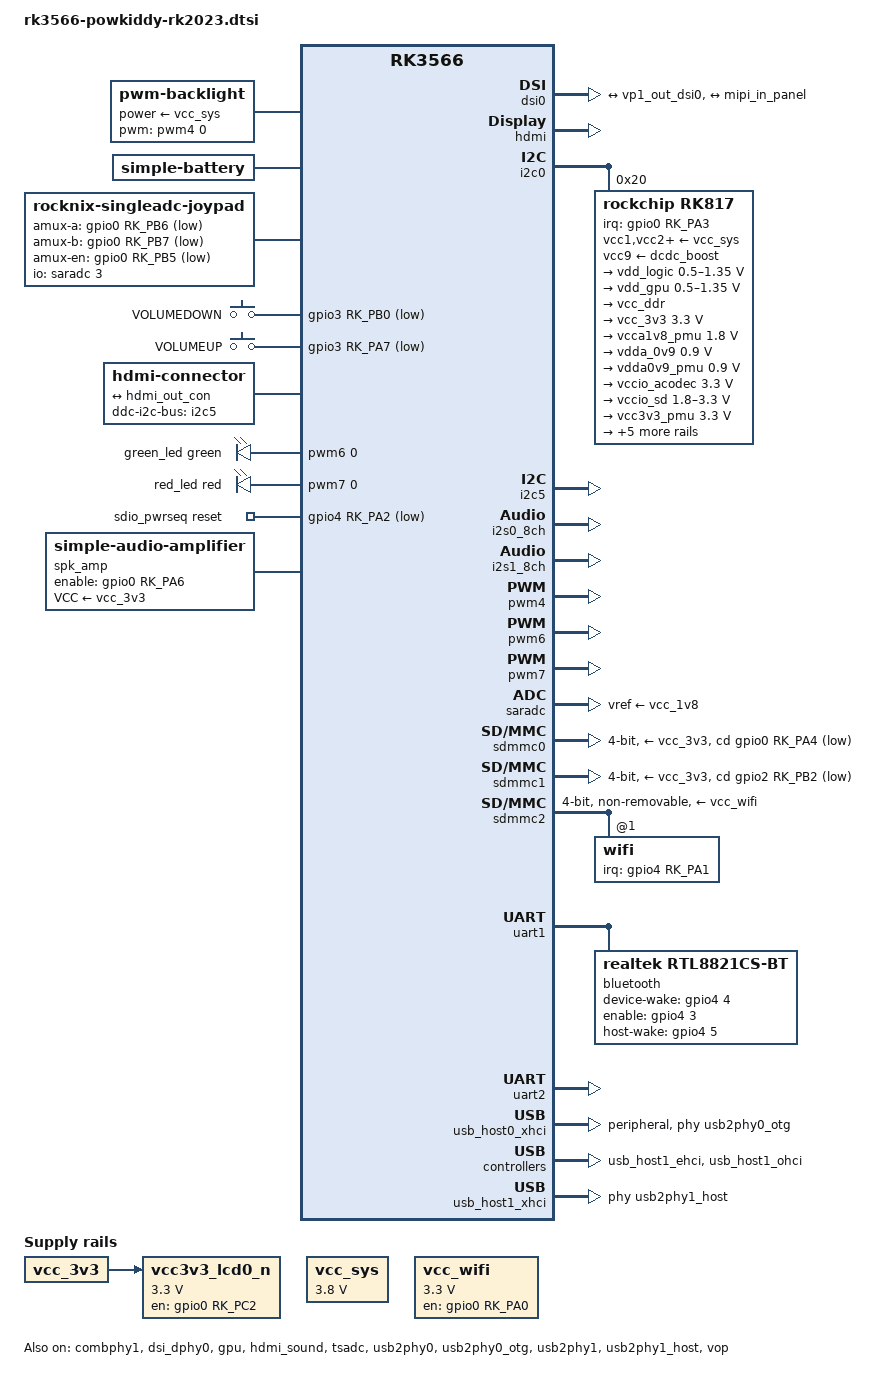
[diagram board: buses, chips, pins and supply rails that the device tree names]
// SPDX-License-Identifier: (GPL-2.0+ OR MIT)

/dts-v1/;

#include <dt-bindings/gpio/gpio.h>
#include <dt-bindings/input/linux-event-codes.h>
#include <dt-bindings/leds/common.h>
#include <dt-bindings/pinctrl/rockchip.h>
#include <dt-bindings/soc/rockchip,vop2.h>
#include "rk3566.dtsi"

/ {
	chassis-type = "handset";

	aliases {
		mmc1 = &sdmmc0;
		mmc2 = &sdmmc1;
		mmc3 = &sdmmc2;
	};

	chosen: chosen {
		stdout-path = "serial2:1500000n8";
	};

	backlight: backlight {
		compatible = "pwm-backlight";
		power-supply = <&vcc_sys>;
		pwms = <&pwm4 0 25000 0>;
		brightness-levels = <
			  0   1   2   3   4   5   6   7
			  8   9  10  11  12  13  14  15
			 16  17  18  19  20  21  22  23
			 24  25  26  27  28  29  30  31
			 32  33  34  35  36  37  38  39
			 40  41  42  43  44  45  46  47
			 48  49  50  51  52  53  54  55
			 56  57  58  59  60  61  62  63
			 64  65  66  67  68  69  70  71
			 72  73  74  75  76  77  78  79
			 80  81  82  83  84  85  86  87
			 88  89  90  91  92  93  94  95
			 96  97  98  99 100 101 102 103
			104 105 106 107 108 109 110 111
			112 113 114 115 116 117 118 119
			120 121 122 123 124 125 126 127
			128 129 130 131 132 133 134 135
			136 137 138 139 140 141 142 143
			144 145 146 147 148 149 150 151
			152 153 154 155 156 157 158 159
			160 161 162 163 164 165 166 167
			168 169 170 171 172 173 174 175
			176 177 178 179 180 181 182 183
			184 185 186 187 188 189 190 191
			192 193 194 195 196 197 198 199
			200 201 202 203 204 205 206 207
			208 209 210 211 212 213 214 215
			216 217 218 219 220 221 222 223
			224 225 226 227 228 229 230 231
			232 233 234 235 236 237 238 239
			240 241 242 243 244 245 246 247
			248 249 250 251 252 253 254 255>;
		default-brightness-level = <77>;
	};

	battery: battery {
		compatible = "simple-battery";
		charge-full-design-microamp-hours = <3151000>;
		charge-term-current-microamp = <300000>;
		constant-charge-current-max-microamp = <2000000>;
		constant-charge-voltage-max-microvolt = <4250000>;
		factory-internal-resistance-micro-ohms = <117000>;
		voltage-max-design-microvolt = <4172000>;
		voltage-min-design-microvolt = <3400000>;

		ocv-capacity-celsius = <20>;
		ocv-capacity-table-0 =  <4172000 100>, <4092000 95>, <4035000 90>, <3990000 85>,
					<3939000 80>, <3895000 75>, <3852000 70>, <3807000 65>,
					<3762000 60>, <3713000 55>, <3672000 50>, <3647000 45>,
					<3629000 40>, <3613000 35>, <3598000 30>, <3578000 25>,
					<3550000 20>, <3519000 15>, <3479000 10>, <3438000 5>,
					<3400000 0>;
	};

	joypad: rocknix-singleadc-joypad {
		compatible = "rocknix-singleadc-joypad";

		joypad-name = "retrogame_joypad";
		joypad-product = <0x1101>;
		joypad-revision = <0x0100>;
		joypad-vendor = <0x484B>;

		status = "okay";

		/* gpio pincontrol setup */
		pinctrl-names = "default";
		pinctrl-0 = <&btn_pins_ctrl>;

		/* Analog mux define */
		io-channel-names = "amux_adc";
		io-channels = <&saradc 3>;

		/* adc mux channel count */
		amux-count = <4>;
		/* adc mux select(a,b) gpio */
		amux-a-gpios = <&gpio0 RK_PB6 GPIO_ACTIVE_LOW>;
		amux-b-gpios = <&gpio0 RK_PB7 GPIO_ACTIVE_LOW>;
		/* adc mux enable gpio */
		amux-en-gpios = <&gpio0 RK_PB5 GPIO_ACTIVE_LOW>;

		/* adc calculate scale */
		button-adc-scale = <2>;


		/* adc deadzone range  */
		button-adc-deadzone = <64>;

		/*
		  specifies fuzz value that is used to filter noise from
		  the event stream.
		*/
		button-adc-fuzz = <32>;
		button-adc-flat = <32>;

		/*
		  Analog Stick data tuning value(precent)
		  p = positive direction, n = negative direction
		  report value = (real_adc_data * tuning_value) / 100
		*/
		abs_x-p-tuning = <245>;
		abs_x-n-tuning = <245>;

		abs_y-p-tuning = <245>;
		abs_y-n-tuning = <245>;

		abs_rx-p-tuning = <245>;
		abs_rx-n-tuning = <245>;

		abs_ry-p-tuning = <245>;
		abs_ry-n-tuning = <245>;

		/* poll device interval (ms), adc read interval */
		poll-interval = <10>;

		/* required to invert x/y */
		invert-absx;
		invert-absy;

		/* gpio button auto repeat set value : default disable */
		/*
			autorepeat;
		*/
		sw1 {
			gpios = <&gpio3 RK_PA3 GPIO_ACTIVE_LOW>;
			label = "GPIO DPAD-UP";
			linux,code = <BTN_DPAD_UP>;
		};
		sw2 {
			gpios = <&gpio3 RK_PA4 GPIO_ACTIVE_LOW>;
			label = "GPIO DPAD-DOWN";
			linux,code = <BTN_DPAD_DOWN>;
		};
		sw3 {
			gpios = <&gpio3 RK_PA6 GPIO_ACTIVE_LOW>;
			label = "GPIO DPAD-LEFT";
			linux,code = <BTN_DPAD_LEFT>;
		};
		sw4 {
			gpios = <&gpio3 RK_PA5 GPIO_ACTIVE_LOW>;
			label = "GPIO DPAD-RIGHT";
			linux,code = <BTN_DPAD_RIGHT>;
		};
		sw5 {
			gpios = <&gpio3 RK_PC3 GPIO_ACTIVE_LOW>;
			label = "GPIO KEY BTN-A";
			linux,code = <BTN_SOUTH>;
		};
		sw6 {
			gpios = <&gpio3 RK_PC2 GPIO_ACTIVE_LOW>;
			label = "GPIO BTN-B";
			linux,code = <BTN_EAST>;
		};
		sw7 {
			gpios = <&gpio3 RK_PC0 GPIO_ACTIVE_LOW>;
			label = "GPIO BTN-X";
			linux,code = <BTN_NORTH>;
		};
		sw8 {
			gpios = <&gpio3 RK_PC1 GPIO_ACTIVE_LOW>;
			label = "GPIO BTN-Y";
			linux,code = <BTN_WEST>;
		};
		sw9 {
			gpios = <&gpio3 RK_PB6 GPIO_ACTIVE_LOW>;
			label = "GPIO BTN_SELECT";
			linux,code = <BTN_SELECT>;
		};
		sw10 {
			gpios = <&gpio3 RK_PB5 GPIO_ACTIVE_LOW>;
			label = "GPIO BTN_START";
			linux,code = <BTN_START>;
		};
		sw11 {
			gpios = <&gpio3 RK_PB7 GPIO_ACTIVE_LOW>;
			label = "GPIO BTN_F";
			linux,code = <BTN_MODE>;
		};
		sw12 {
			gpios = <&gpio3 RK_PB1 GPIO_ACTIVE_LOW>;
			label = "GPIO BTN_TL";
			linux,code = <BTN_TL>;
		};
		sw13 {
			gpios = <&gpio3 RK_PB3 GPIO_ACTIVE_LOW>;
			label = "GPIO BTN_TR";
			linux,code = <BTN_TR>;
		};
		sw14 {
			gpios = <&gpio3 RK_PB2 GPIO_ACTIVE_LOW>;
			label = "GPIO BTN_TL2";
			linux,code = <BTN_TL2>;
		};
		sw15 {
			gpios = <&gpio3 RK_PB4 GPIO_ACTIVE_LOW>;
			label = "GPIO BTN_TR2";
			linux,code = <BTN_TR2>;
		};
		sw16 {
			gpios = <&gpio3 RK_PA1 GPIO_ACTIVE_LOW>;
			label = "GPIO BTN_THUMBL";
			linux,code = <BTN_THUMBL>;
		};
		sw17 {
			gpios = <&gpio3 RK_PA2 GPIO_ACTIVE_LOW>;
			label = "GPIO BTN_THUMBR";
			linux,code = <BTN_THUMBR>;
		};
	};

	gpio_keys_vol: gpio-keys-vol {
		compatible = "gpio-keys";
		autorepeat;
		pinctrl-0 = <&btn_pins_vol>;
		pinctrl-names = "default";

		button-vol-down {
			gpios = <&gpio3 RK_PB0 GPIO_ACTIVE_LOW>;
			label = "VOLUMEDOWN";
			linux,code = <KEY_VOLUMEDOWN>;
		};

		button-vol-up {
			gpios = <&gpio3 RK_PA7 GPIO_ACTIVE_LOW>;
			label = "VOLUMEUP";
			linux,code = <KEY_VOLUMEUP>;
		};
	};

	hdmi-con {
		compatible = "hdmi-connector";
		ddc-i2c-bus = <&i2c5>;
		type = "c";

		port {
			hdmi_con_in: endpoint {
				remote-endpoint = <&hdmi_out_con>;
			};
		};
	};

	/*
	 * Device also includes an always on LED that is wired to the 5V input
	 * voltage and is on when the device is plugged in.
	 */
	leds: pwm-leds {
		compatible = "pwm-leds";

		green_led: led-0 {
			color = <LED_COLOR_ID_GREEN>;
			function = LED_FUNCTION_STATUS;
			max-brightness = <255>;
			pwms = <&pwm6 0 25000 0>;
		};

		red_led: led-1 {
			color = <LED_COLOR_ID_RED>;
			function = LED_FUNCTION_CHARGING;
			max-brightness = <255>;
			pwms = <&pwm7 0 25000 0>;
		};
	};

	sdio_pwrseq: sdio-pwrseq {
		compatible = "mmc-pwrseq-simple";
		clocks = <&rk817 1>;
		clock-names = "ext_clock";
		pinctrl-0 = <&wifi_enable_h>;
		pinctrl-names = "default";
		post-power-on-delay-ms = <200>;
		reset-gpios = <&gpio4 RK_PA2 GPIO_ACTIVE_LOW>;
	};

	/*
	 * Channels reversed for speakers. Headphones automatically switch via hardware when
	 * detected with no ability to control output in software. Headphones appear to be mono
	 * (each output channel receives all audio). No microphone support on 3.5mm jack.
	 */
	sound {
		compatible = "simple-audio-card";
		simple-audio-card,name = "rk817_ext";
		simple-audio-card,aux-devs = <&spk_amp>;
		simple-audio-card,format = "i2s";
		simple-audio-card,mclk-fs = <256>;
		simple-audio-card,widgets =
			"Headphone", "Headphones";
		simple-audio-card,routing =
			"Headphones", "HPOL",
			"Headphones", "HPOR";

		simple-audio-card,codec {
			sound-dai = <&rk817>;
		};

		simple-audio-card,cpu {
			sound-dai = <&i2s1_8ch>;
		};
	};

    spk_amp: audio-amplifier {
		compatible = "simple-audio-amplifier";
        /* This gpio has been verified to turn off speakers on rk2023 */
		enable-gpios = <&gpio0 RK_PA6 GPIO_ACTIVE_HIGH>;
		pinctrl-0 = <&spk_amp_enable_h>;
		pinctrl-names = "default";
		sound-name-prefix = "Speaker Amp";
		/* This is a guess based on rgxx3-series*/
		VCC-supply = <&vcc_3v3>;
	};

	vcc3v3_lcd0_n: regulator-vcc3v3-lcd0 {
		compatible = "regulator-fixed";
		gpio = <&gpio0 RK_PC2 GPIO_ACTIVE_HIGH>;
		enable-active-high;
		pinctrl-0 = <&vcc_lcd_h>;
		pinctrl-names = "default";
		regulator-min-microvolt = <3300000>;
		regulator-max-microvolt = <3300000>;
		regulator-name = "vcc3v3_lcd0_n";
		vin-supply = <&vcc_3v3>;
		regulator-state-mem {
			regulator-off-in-suspend;
		};
	};

	vcc_sys: regulator-vcc-sys {
		compatible = "regulator-fixed";
		regulator-always-on;
		regulator-boot-on;
		regulator-min-microvolt = <3800000>;
		regulator-max-microvolt = <3800000>;
		regulator-name = "vcc_sys";
	};

	vcc_wifi: regulator-vcc-wifi {
		compatible = "regulator-fixed";
		enable-active-high;
		gpio = <&gpio0 RK_PA0 GPIO_ACTIVE_HIGH>;
		pinctrl-0 = <&vcc_wifi_h>;
		pinctrl-names = "default";
		regulator-always-on;
		regulator-min-microvolt = <3300000>;
		regulator-max-microvolt = <3300000>;
		regulator-name = "vcc_wifi";
	};
};

&combphy1 {
	status = "okay";
};

&cpu0 {
	cpu-supply = <&vdd_cpu>;
};

&cpu1 {
	cpu-supply = <&vdd_cpu>;
};

&cpu2 {
	cpu-supply = <&vdd_cpu>;
};

&cpu3 {
	cpu-supply = <&vdd_cpu>;
};

&dsi0 {
	status = "okay";
	#address-cells = <1>;
	#size-cells = <0>;

	ports {
		dsi0_in: port@0 {
			reg = <0>;
			dsi0_in_vp1: endpoint {
				remote-endpoint = <&vp1_out_dsi0>;
			};
		};

		dsi0_out: port@1 {
			reg = <1>;
			mipi_out_panel: endpoint {
				remote-endpoint = <&mipi_in_panel>;
			};
		};
	};
};

&dsi_dphy0 {
	status = "okay";
};

&gpu {
	mali-supply = <&vdd_gpu>;
	status = "okay";
};

&hdmi {
	ddc-i2c-bus = <&i2c5>;
	pinctrl-0 = <&hdmitxm0_cec>;
	pinctrl-names = "default";
	avdd-0v9-supply = <&vdda0v9_pmu>;
	avdd-1v8-supply = <&vcca1v8_pmu>;
	status = "okay";
};

&hdmi_in {
	hdmi_in_vp0: endpoint {
		remote-endpoint = <&vp0_out_hdmi>;
	};
};

&hdmi_out {
	hdmi_out_con: endpoint {
		remote-endpoint = <&hdmi_con_in>;
	};
};

&hdmi_sound {
	status = "okay";
};

&i2c0 {
	status = "okay";

	rk817: pmic@20 {
		compatible = "rockchip,rk817";
		reg = <0x20>;
		interrupt-parent = <&gpio0>;
		interrupts = <RK_PA3 IRQ_TYPE_LEVEL_LOW>;
		clock-output-names = "rk808-clkout1", "rk808-clkout2";
		clock-names = "mclk";
		clocks = <&cru I2S1_MCLKOUT_TX>;
		assigned-clocks = <&cru I2S1_MCLKOUT_TX>;
		assigned-clock-parents = <&cru CLK_I2S1_8CH_TX>;
		#clock-cells = <1>;
		#sound-dai-cells = <0>;
		pinctrl-names = "default";
		pinctrl-0 = <&i2s1m0_mclk>, <&pmic_int_l>;
		wakeup-source;
		system-power-controller;

		vcc1-supply = <&vcc_sys>;
		vcc2-supply = <&vcc_sys>;
		vcc3-supply = <&vcc_sys>;
		vcc4-supply = <&vcc_sys>;
		vcc5-supply = <&vcc_sys>;
		vcc6-supply = <&vcc_sys>;
		vcc7-supply = <&vcc_sys>;
		vcc8-supply = <&vcc_sys>;
		vcc9-supply = <&dcdc_boost>;

		regulators {
			vdd_logic: DCDC_REG1 {
				regulator-always-on;
				regulator-boot-on;
				regulator-min-microvolt = <500000>;
				regulator-max-microvolt = <1350000>;
				regulator-ramp-delay = <6001>;
				regulator-initial-mode = <0x2>;
				regulator-name = "vdd_logic";
				regulator-state-mem {
					regulator-off-in-suspend;
					regulator-suspend-microvolt = <900000>;
				};
			};

			vdd_gpu: DCDC_REG2 {
				regulator-always-on;
				regulator-boot-on;
				regulator-min-microvolt = <500000>;
				regulator-max-microvolt = <1350000>;
				regulator-ramp-delay = <6001>;
				regulator-initial-mode = <0x2>;
				regulator-name = "vdd_gpu";
				regulator-state-mem {
					regulator-off-in-suspend;
				};
			};

			vcc_ddr: DCDC_REG3 {
				regulator-always-on;
				regulator-boot-on;
				regulator-initial-mode = <0x2>;
				regulator-name = "vcc_ddr";
				regulator-state-mem {
					regulator-on-in-suspend;
				};
			};

			vcc_3v3: DCDC_REG4 {
				regulator-always-on;
				regulator-boot-on;
				regulator-min-microvolt = <3300000>;
				regulator-max-microvolt = <3300000>;
				regulator-initial-mode = <0x2>;
				regulator-name = "vcc_3v3";
				regulator-state-mem {
					regulator-on-in-suspend;
					regulator-suspend-microvolt = <3300000>;
				};
			};

			vcca1v8_pmu: LDO_REG1 {
				regulator-always-on;
				regulator-boot-on;
				regulator-min-microvolt = <1800000>;
				regulator-max-microvolt = <1800000>;
				regulator-name = "vcca1v8_pmu";
				regulator-state-mem {
					regulator-on-in-suspend;
					regulator-suspend-microvolt = <1800000>;
				};
			};

			vdda_0v9: LDO_REG2 {
				regulator-always-on;
				regulator-boot-on;
				regulator-min-microvolt = <900000>;
				regulator-max-microvolt = <900000>;
				regulator-name = "vdda_0v9";
				regulator-state-mem {
					regulator-off-in-suspend;
				};
			};

			vdda0v9_pmu: LDO_REG3 {
				regulator-always-on;
				regulator-boot-on;
				regulator-min-microvolt = <900000>;
				regulator-max-microvolt = <900000>;
				regulator-name = "vdda0v9_pmu";
				regulator-state-mem {
					regulator-on-in-suspend;
					regulator-suspend-microvolt = <900000>;
				};
			};

			vccio_acodec: LDO_REG4 {
				regulator-always-on;
				regulator-min-microvolt = <3300000>;
				regulator-max-microvolt = <3300000>;
				regulator-name = "vccio_acodec";
				regulator-state-mem {
					regulator-off-in-suspend;
				};
			};

			vccio_sd: LDO_REG5 {
				regulator-always-on;
				regulator-boot-on;
				regulator-min-microvolt = <1800000>;
				regulator-max-microvolt = <3300000>;
				regulator-name = "vccio_sd";
				regulator-state-mem {
					regulator-off-in-suspend;
				};
			};

			vcc3v3_pmu: LDO_REG6 {
				regulator-always-on;
				regulator-boot-on;
				regulator-min-microvolt = <3300000>;
				regulator-max-microvolt = <3300000>;
				regulator-name = "vcc3v3_pmu";
				regulator-state-mem {
					regulator-on-in-suspend;
					regulator-suspend-microvolt = <3300000>;
				};
			};

			vcc_1v8: LDO_REG7 {
				regulator-always-on;
				regulator-boot-on;
				regulator-min-microvolt = <1800000>;
				regulator-max-microvolt = <1800000>;
				regulator-name = "vcc_1v8";
				regulator-state-mem {
					regulator-off-in-suspend;
				};
			};

			vcc1v8_dvp: LDO_REG8 {
				regulator-always-on;
				regulator-min-microvolt = <1800000>;
				regulator-max-microvolt = <3300000>;
				regulator-name = "vcc1v8_dvp";
				regulator-state-mem {
					regulator-off-in-suspend;
				};
			};

			vcc2v8_dvp: LDO_REG9 {
				regulator-always-on;
				regulator-boot-on;
				regulator-min-microvolt = <2800000>;
				regulator-max-microvolt = <2800000>;
				regulator-name = "vcc2v8_dvp";
				regulator-state-mem {
					regulator-off-in-suspend;
				};
			};

			dcdc_boost: BOOST {
				regulator-always-on;
				regulator-min-microvolt = <4700000>;
				regulator-max-microvolt = <5400000>;
				regulator-name = "boost";
				regulator-state-mem {
					regulator-off-in-suspend;
				};
			};

			otg_switch: OTG_SWITCH {
				regulator-name = "otg_switch";
				regulator-state-mem {
					regulator-off-in-suspend;
				};
			};
		};

		rk817_charger: charger {
			monitored-battery = <&battery>;
			rockchip,resistor-sense-micro-ohms = <10000>;
			rockchip,sleep-enter-current-microamp = <300000>;
			rockchip,sleep-filter-current-microamp = <100000>;
		};
	};
};

&i2c5 {
	pinctrl-0 = <&i2c5m1_xfer>;
	pinctrl-names = "default";
	status = "okay";
};

&i2s0_8ch {
	status = "okay";
};

&i2s1_8ch {
	pinctrl-0 = <&i2s1m0_sclktx
		     &i2s1m0_lrcktx
		     &i2s1m0_sdi0
		     &i2s1m0_sdo0>;
	pinctrl-names = "default";
	rockchip,trcm-sync-tx-only;
	status = "okay";
};

&pinctrl {
	gpio-btns {
		btn_pins_ctrl: btn-pins-ctrl {
			rockchip,pins =
				<3 RK_PA1 RK_FUNC_GPIO &pcfg_pull_up>,
				<3 RK_PA2 RK_FUNC_GPIO &pcfg_pull_up>,
				<3 RK_PA3 RK_FUNC_GPIO &pcfg_pull_up>,
				<3 RK_PA4 RK_FUNC_GPIO &pcfg_pull_up>,
				<3 RK_PA5 RK_FUNC_GPIO &pcfg_pull_up>,
				<3 RK_PA6 RK_FUNC_GPIO &pcfg_pull_up>,
				<3 RK_PB1 RK_FUNC_GPIO &pcfg_pull_up>,
				<3 RK_PB2 RK_FUNC_GPIO &pcfg_pull_up>,
				<3 RK_PB3 RK_FUNC_GPIO &pcfg_pull_up>,
				<3 RK_PB4 RK_FUNC_GPIO &pcfg_pull_up>,
				<3 RK_PB5 RK_FUNC_GPIO &pcfg_pull_up>,
				<3 RK_PB6 RK_FUNC_GPIO &pcfg_pull_up>,
				<3 RK_PC0 RK_FUNC_GPIO &pcfg_pull_up>,
				<3 RK_PC1 RK_FUNC_GPIO &pcfg_pull_up>,
				<3 RK_PC2 RK_FUNC_GPIO &pcfg_pull_up>,
				<3 RK_PC3 RK_FUNC_GPIO &pcfg_pull_up>;
		};

		btn_pins_vol: btn-pins-vol {
			rockchip,pins =
				<3 RK_PA7 RK_FUNC_GPIO &pcfg_pull_up>,
				<3 RK_PB0 RK_FUNC_GPIO &pcfg_pull_up>;
		};
	};

	joy-mux {
		joy_mux_en: joy-mux-en {
			rockchip,pins =
				<0 RK_PB5 RK_FUNC_GPIO &pcfg_output_low>;
		};
	};

	gpio-lcd {
		lcd_rst: lcd-rst {
			rockchip,pins =
				<4 RK_PA0 RK_FUNC_GPIO &pcfg_pull_none>;
		};
	};

	pmic {
		pmic_int_l: pmic-int-l {
			rockchip,pins =
				<0 RK_PA3 RK_FUNC_GPIO &pcfg_pull_up>;
		};
	};

	sdio-pwrseq {
		wifi_enable_h: wifi-enable-h {
			rockchip,pins =
				<4 RK_PA2 RK_FUNC_GPIO &pcfg_pull_none>;
		};
	};

	vcc3v3-lcd {
		vcc_lcd_h: vcc-lcd-h {
			rockchip,pins =
				<0 RK_PC2 RK_FUNC_GPIO &pcfg_pull_none>;
		};
	};

	wifi {
		wifi_host_wake_l: wifi-host-wake-l {
			rockchip,pins =
				<4 RK_PA1 RK_FUNC_GPIO &pcfg_pull_down>;
		};
	};

	vcc-wifi {
		vcc_wifi_h: vcc-wifi-h {
			rockchip,pins =
				<0 RK_PA0 RK_FUNC_GPIO &pcfg_pull_none>;
		};
	};
	audio-amplifier {
		spk_amp_enable_h: spk-amp-enable-h {
			rockchip,pins =
				<4 RK_PC2 RK_FUNC_GPIO &pcfg_pull_none>;
		};
	};
};

&pmu_io_domains {
	status = "okay";
	pmuio1-supply = <&vcc3v3_pmu>;
	pmuio2-supply = <&vcc3v3_pmu>;
	vccio1-supply = <&vccio_acodec>;
	vccio3-supply = <&vccio_sd>;
	vccio4-supply = <&vcc_1v8>;
	vccio5-supply = <&vcc_3v3>;
	vccio6-supply = <&vcc1v8_dvp>;
	vccio7-supply = <&vcc_3v3>;
};

&pwm4 {
	status = "okay";
};

&pwm6 {
	status = "okay";
};

&pwm7 {
	status = "okay";
};

&saradc {
	vref-supply = <&vcc_1v8>;
	status = "okay";
};

&sdmmc0 {
	bus-width = <4>;
	cap-sd-highspeed;
	cd-gpios = <&gpio0 RK_PA4 GPIO_ACTIVE_LOW>;
	disable-wp;
	pinctrl-0 = <&sdmmc0_bus4 &sdmmc0_clk &sdmmc0_cmd &sdmmc0_det>;
	pinctrl-names = "default";
	sd-uhs-sdr104;
	vmmc-supply = <&vcc_3v3>;
	vqmmc-supply = <&vccio_sd>;
	status = "okay";
};

&sdmmc1 {
	bus-width = <4>;
	cap-sd-highspeed;
	card-detect-delay = <800>;
	cd-gpios = <&gpio2 RK_PB2 GPIO_ACTIVE_LOW>;
	disable-wp;
	pinctrl-0 = <&sdmmc1_bus4 &sdmmc1_cmd &sdmmc1_clk &sdmmc1_det>;
	pinctrl-names = "default";
	sd-uhs-sdr104;
	vmmc-supply = <&vcc_3v3>;
	vqmmc-supply = <&vcc1v8_dvp>;
	status = "okay";
};

&sdmmc2 {
	#address-cells = <1>;
	#size-cells = <0>;
	bus-width = <4>;
	cap-sd-highspeed;
	cap-sdio-irq;
	keep-power-in-suspend;
	mmc-pwrseq = <&sdio_pwrseq>;
	non-removable;
	pinctrl-0 = <&sdmmc2m0_bus4 &sdmmc2m0_cmd &sdmmc2m0_clk>;
	pinctrl-names = "default";
	vmmc-supply = <&vcc_wifi>;
	vqmmc-supply = <&vcca1v8_pmu>;
	no-mmc;
	no-sd;
	sd-uhs-sdr50;
	status = "okay";

	wifi@1 {
		reg = <1>;
		interrupt-names = "host-wake";
		interrupt-parent = <&gpio4>;
		interrupts = <RK_PA1 IRQ_TYPE_LEVEL_HIGH>;
		pinctrl-0 = <&wifi_host_wake_l>;
		pinctrl-names = "default";
	};
};

&tsadc {
	rockchip,hw-tshut-mode = <1>;
	rockchip,hw-tshut-polarity = <0>;
	status = "okay";
};

&uart1 {
	dma-names = "tx", "rx";
	pinctrl-0 = <&uart1m1_xfer &uart1m1_ctsn &uart1m1_rtsn>;
	pinctrl-names = "default";
	uart-has-rtscts;
	status = "okay";

	bluetooth: bluetooth {
		compatible = "realtek,rtl8821cs-bt", "realtek,rtl8723bs-bt";
		device-wake-gpios = <&gpio4 4 GPIO_ACTIVE_HIGH>;
		enable-gpios = <&gpio4 3 GPIO_ACTIVE_HIGH>;
		host-wake-gpios = <&gpio4 5 GPIO_ACTIVE_HIGH>;
	};
};

&uart2 {
	status = "okay";
};

&usb_host0_xhci {
	dr_mode = "peripheral";
	phys = <&usb2phy0_otg>;
	phy-names = "usb2-phy";
	status = "okay";
};

&usb_host1_ehci {
	status = "okay";
};

&usb_host1_ohci {
	status = "okay";
};

&usb_host1_xhci {
	phy-names = "usb2-phy", "usb3-phy";
	phys = <&usb2phy1_host>, <&combphy1 PHY_TYPE_USB3>;
	status = "okay";
};

&usb2phy0 {
	status = "okay";
};

&usb2phy0_otg {
	status = "okay";
};

&usb2phy1 {
	status = "okay";
};

&usb2phy1_host {
	status = "okay";
};

&vop {
	assigned-clocks = <&cru DCLK_VOP0>, <&cru DCLK_VOP1>;
	assigned-clock-parents = <&pmucru PLL_HPLL>, <&cru PLL_VPLL>;
	status = "okay";
};

&vop_mmu {
	status = "okay";
};

&vp0 {
	vp0_out_hdmi: endpoint@ROCKCHIP_VOP2_EP_HDMI0 {
		reg = <ROCKCHIP_VOP2_EP_HDMI0>;
		remote-endpoint = <&hdmi_in_vp0>;
	};
};

&vp1 {
	vp1_out_dsi0: endpoint@ROCKCHIP_VOP2_EP_MIPI0 {
		reg = <ROCKCHIP_VOP2_EP_MIPI0>;
		remote-endpoint = <&dsi0_in_vp1>;
	};
};
